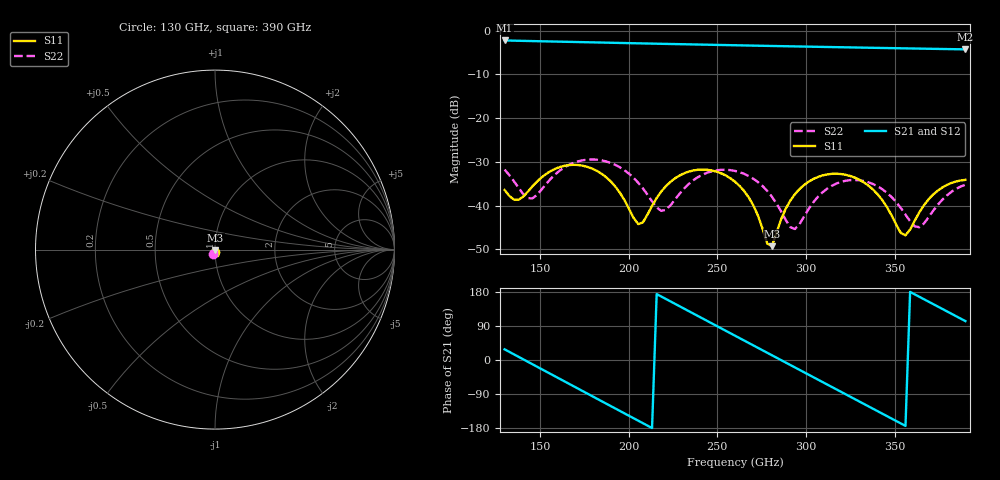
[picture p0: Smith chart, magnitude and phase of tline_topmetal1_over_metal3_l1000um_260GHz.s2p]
#  GHZ S DB R 50
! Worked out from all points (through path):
!   101 points, 130 GHz to 390 GHz, reference 50 ohm
!   highest |S21| = -2.27 dB at 130 GHz (marker M1); lowest = -4.3 dB at 390 GHz (marker M2)
!   group delay of S21, straight-line fit = 6.89 ps
!   lowest |S11| = -49.3 dB at 280.8 GHz (marker M3), VSWR 1.01, Z = 50.1 - j0.318 ohm
!   |S11| at or under -10 dB: start of sweep to end of sweep
!   |S22| runs from -45.3 to -29.5 dB; largest |S21 - S12| = 7.8e-14
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130  -36.44 -93.2  -2.27 28.1  -2.27 28.1  -31.77 -119.1
137.8  -38.69 -63.2  -2.34 8.6  -2.34 8.6  -35.89 -116.8
145.6  -35.66 -42.8  -2.41 -10.9  -2.41 -10.9  -38.37 -85.2
161.2  -31.18 -57.1  -2.55 -49.9  -2.55 -49.9  -31.98 -67.0
174.2  -30.89 -81.1  -2.66 -82.4  -2.66 -82.4  -29.64 -88.0
189.8  -34.45 -108.3  -2.80 -121.3  -2.80 -121.3  -30.24 -117.8
205.4  -44.24 -80.9  -2.93 -160.2  -2.93 -160.2  -34.78 -140.2
218.4  -36.78 -37.1  -3.04 167.5  -3.04 167.5  -41.19 -113.7
239.2  -31.81 -72.5  -3.20 115.8  -3.20 115.8  -33.47 -88.5
260  -34.55 -115.5  -3.37 64.2  -3.37 64.2  -32.08 -126.0
270.4  -39.99 -130.4  -3.45 38.4  -3.45 38.4  -33.88 -145.0
278.2  -48.68 -104.3  -3.51 19.1  -3.51 19.1  -36.65 -156.0
280.8  -49.27 -67.0  -3.53 12.6  -3.53 12.6  -37.96 -158.0
293.8  -37.40 -38.0  -3.63 -19.6  -3.63 -19.6  -45.35 -115.4
304.2  -33.92 -57.0  -3.71 -45.3  -3.71 -45.3  -39.23 -84.0
325  -33.23 -100.6  -3.86 -96.8  -3.86 -96.8  -34.18 -113.3
338  -36.38 -124.5  -3.95 -128.9  -3.95 -128.9  -35.09 -136.2
348.4  -42.27 -129.6  -4.03 -154.6  -4.03 -154.6  -38.06 -149.7
356.2  -46.79 -86.6  -4.08 -173.9  -4.08 -173.9  -42.06 -147.5
364  -41.54 -54.1  -4.13 166.8  -4.13 166.8  -44.94 -112.9
374.4  -36.58 -62.4  -4.20 141.2  -4.20 141.2  -39.82 -84.8
390  -34.12 -91.0  -4.31 102.6  -4.31 102.6  -35.22 -101.5
